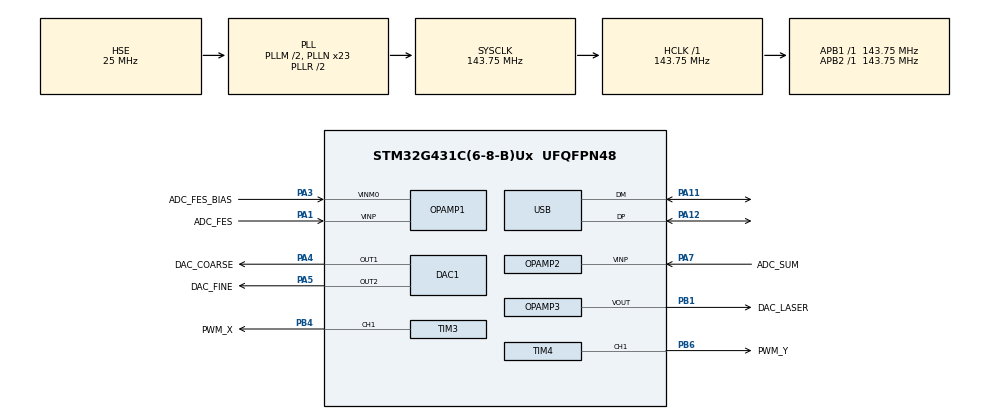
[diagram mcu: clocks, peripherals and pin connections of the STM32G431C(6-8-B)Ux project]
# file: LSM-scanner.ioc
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ADC1.Channel-0\#ChannelRegularConversion=ADC_CHANNEL_VOPAMP1
ADC1.NbrOfConversionFlag=1
ADC1.OffsetNumber-0\#ChannelRegularConversion=ADC_OFFSET_NONE
ADC1.OversamplingMode=ENABLE
ADC1.Rank-0\#ChannelRegularConversion=1
ADC1.Ratio=ADC_OVERSAMPLING_RATIO_16
ADC1.SamplingTime-0\#ChannelRegularConversion=ADC_SAMPLETIME_2CYCLES_5
ADC1.master=1
ADC2.Channel-0\#ChannelRegularConversion=ADC_CHANNEL_VOPAMP2
ADC2.NbrOfConversionFlag=1
ADC2.OffsetNumber-0\#ChannelRegularConversion=ADC_OFFSET_NONE
ADC2.OversamplingMode=ENABLE
ADC2.Rank-0\#ChannelRegularConversion=1
ADC2.Ratio=ADC_OVERSAMPLING_RATIO_16
ADC2.SamplingTime-0\#ChannelRegularConversion=ADC_SAMPLETIME_2CYCLES_5
DAC1.DAC_Channel-DAC_OUT2=DAC_CHANNEL_2
DAC3.DAC_Channel-DAC_OUT2_Int=DAC_CHANNEL_2
Mcu.Family=STM32G4
Mcu.Name=STM32G431C(6-8-B)Ux
Mcu.Package=UFQFPN48
NVIC.PriorityGroup=NVIC_PRIORITYGROUP_4
NVIC.USB_LP_IRQn=true\:0\:0\:false\:false\:true\:false\:true\:true
PA1.GPIO_Label=ADC_FES
PA1.Mode=PGA Internally connected_IO0_BIAS
PA1.Signal=OPAMP1_VINP
PA11.Mode=Device
PA11.Signal=USB_DM
PA12.Mode=Device
PA12.Signal=USB_DP
PA13.Mode=Serial_Wire
PA13.Signal=SYS_JTMS-SWDIO
PA14.Mode=Serial_Wire
PA14.Signal=SYS_JTCK-SWCLK
PA3.GPIO_Label=ADC_FES_BIAS
PA3.Mode=PGA Internally connected_IO0_BIAS
PA3.Signal=OPAMP1_VINM0
PA4.GPIO_Label=DAC_COARSE
PA4.Signal=COMP_DAC11_group
PA5.GPIO_Label=DAC_FINE
PA5.Signal=COMP_DAC12_group
PA7.GPIO_Label=ADC_SUM
PA7.Mode=PGA_Internally_Connected
PA7.Signal=OPAMP2_VINP
PB1.GPIO_Label=DAC_LASER
PB1.Mode=Follower-DAC_OUT2-INP
PB1.Signal=OPAMP3_VOUT
PB4.GPIO_Label=PWM_X
PB4.Signal=S_TIM3_CH1
PB6.GPIO_Label=PWM_Y
PB6.Signal=S_TIM4_CH1
PF0-OSC_IN.Mode=HSE-External-Oscillator
PF0-OSC_IN.Signal=RCC_OSC_IN
PF1-OSC_OUT.Mode=HSE-External-Oscillator
PF1-OSC_OUT.Signal=RCC_OSC_OUT
ProjectManager.HeapSize=0x200
ProjectManager.StackSize=0x400
ProjectManager.TargetToolchain=STM32CubeIDE
RCC.ADC12Freq_Value=143750000
RCC.AHBFreq_Value=143750000
RCC.APB1Freq_Value=143750000
RCC.APB1TimFreq_Value=143750000
RCC.APB2Freq_Value=143750000
RCC.APB2TimFreq_Value=143750000
RCC.CortexFreq_Value=143750000
RCC.EXTERNAL_CLOCK_VALUE=12288000
RCC.HCLKFreq_Value=143750000
RCC.HSE_VALUE=25000000
RCC.HSI48_VALUE=48000000
RCC.HSI_VALUE=16000000
RCC.LSE_VALUE=32768
RCC.PLLM=RCC_PLLM_DIV2
RCC.PLLN=23
RCC.PLLQ=RCC_PLLQ_DIV6
RCC.PLLSourceVirtual=RCC_PLLSOURCE_HSE
RCC.SYSCLKFreq_VALUE=143750000
RCC.SYSCLKSource=RCC_SYSCLKSOURCE_PLLCLK
RCC.USBFreq_Value=47916666.666666664
RCC.VCOOutputFreq_Value=287500000
SH.COMP_DAC11_group.0=DAC1_OUT1,DAC_OUT1
SH.COMP_DAC12_group.0=DAC1_OUT2,DAC_OUT2
SH.S_TIM3_CH1.0=TIM3_CH1,PWM Generation1 CH1
SH.S_TIM4_CH1.0=TIM4_CH1,PWM Generation1 CH1
TIM1.Prescaler=143.75-1
TIM3.Channel-PWM\ Generation1\ CH1=TIM_CHANNEL_1
TIM3.PeriodNoDither=4095
TIM4.Channel-PWM\ Generation1\ CH1=TIM_CHANNEL_1
TIM4.PeriodNoDither=4095
USB_DEVICE.CLASS_NAME_FS=CDC
USB_DEVICE.VirtualMode=Cdc
USB_DEVICE.VirtualModeFS=Cdc_FS
VP_ADC1_OPAMP_INTERNAL1.Mode=IN-OPAMP1
VP_ADC2_OPAMP_INTERNAL2.Mode=IN-OPAMP2
VP_DAC3_VS_DACI2.Mode=DAC_OUT2_Int
VP_SYS_V_VREFBUF.Mode=ExternalMode
VP_TIM1_VS_ClockSourceINT.Mode=Internal
VP_USB_DEVICE_VS_USB_DEVICE_CDC_FS.Mode=CDC_FS
board=custom

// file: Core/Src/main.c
/* USER CODE BEGIN Header */
/**
  ******************************************************************************
  * @file           : main.c
  * @brief          : Main program body
  ******************************************************************************
  * @attention
  *
  * Copyright (c) 2023 STMicroelectronics.
  * All rights reserved.
  *
  * This software is licensed under terms that can be found in the LICENSE file
  * in the root directory of this software component.
  * If no LICENSE file comes with this software, it is provided AS-IS.
  *
  ******************************************************************************
  */
/* USER CODE END Header */
#include "main.h"
#include "usb_device.h"

/* USER CODE BEGIN Includes */
#include <string.h>
#include <stdbool.h>
#include <math.h>
#include <ctype.h>
#include "usbd_cdc_if.h"
#include<stdio.h>
#include<stdlib.h>
/* USER CODE END Includes */

ADC_HandleTypeDef hadc1;
ADC_HandleTypeDef hadc2;

DAC_HandleTypeDef hdac1;
DAC_HandleTypeDef hdac3;

OPAMP_HandleTypeDef hopamp1;
OPAMP_HandleTypeDef hopamp2;
OPAMP_HandleTypeDef hopamp3;

TIM_HandleTypeDef htim1;
TIM_HandleTypeDef htim3;
TIM_HandleTypeDef htim4;

/* USER CODE BEGIN PV */
//1 -> int between 1 and 8191
uint16_t xRes = 200;
//2 -> int between 1 and 8191
uint16_t yRes = 200;
//3 -> int between 1 and 8191
uint16_t skipSteps = 1;

//4 -> int between 0 and 8191
uint16_t xOffset = 4095;
//5 -> int between 0 and 8191
uint16_t yOffset = 4095;
//8 -> int between 1 and 20
uint8_t adcAvg = 8;

//7 -> int between 0 and 2500
uint16_t laserPower = 2200;

//image data buffer -> set a little under the USB CDC 512 limit
static const uint16_t lenBuffer = 500;
static unsigned char imageData[500]; //apparently can't use lenBuffer

int pgaGain = OPAMP_PGA_GAIN_2_OR_MINUS_1;

int scanOffsetX = 0;
int scanOffsetY = 0;
/* USER CODE END PV */

void SystemClock_Config(void);
static void MX_GPIO_Init(void);
static void MX_DAC1_Init(void);
static void MX_DAC3_Init(void);
static void MX_OPAMP1_Init(void);
static void MX_OPAMP2_Init(void);
static void MX_OPAMP3_Init(void);
static void MX_TIM3_Init(void);
static void MX_TIM4_Init(void);
static void MX_TIM1_Init(void);
static void MX_ADC1_Init(void);
static void MX_ADC2_Init(void);

/* USER CODE BEGIN 0 */

//microsecond delay (not used)
void delay(uint32_t us) {
	//from AN4776 page 10, 1.3.1
	if (us > 65535) { //a check to see if the scans asks for bad delays
		printf("A delay of %d is too long!", us);
		us = 65535; //set to max
	}
	TIM1->ARR = us;
	TIM1->CNT = 0;
	TIM1->CR1 |= TIM_CR1_CEN; //enable timer
	while (TIM1->CNT < us)
		; //wait
	TIM1->CR1 &= ~TIM_CR1_CEN; //disable timer
}

//USB cdc transmit
//https://github.com/alexeykosinov/Redirect-printf-to-USB-VCP-on-STM32H7-MCU
int _write(int file, char *ptr, int len) {
	static uint8_t rc = USBD_OK;

	do {
		rc = CDC_Transmit_FS((unsigned char*) ptr, len);
	} while (USBD_BUSY == rc);

	if (USBD_FAIL == rc) {
		/// NOTE: Should never reach here.
		/// TODO: Handle this error.
		return 0;
	}
	return len;
}

//USB cdc receive
uint8_t buffer[64];
bool newReceived;

//ADC
uint32_t analogRead(uint8_t channel) {
	uint32_t ADCValue = 0;
	if (channel == 0) { //SUM
		HAL_ADC_Start(&hadc2);
		if (HAL_ADC_PollForConversion(&hadc2, 1000000) == HAL_OK) {
			ADCValue = 65520-HAL_ADC_GetValue(&hadc2); //4095*8
		}
		HAL_ADC_Stop(&hadc2);
	} else if (channel == 1) { //FES
		HAL_ADC_Start(&hadc1);
		if (HAL_ADC_PollForConversion(&hadc1, 1000000) == HAL_OK) {
			ADCValue = HAL_ADC_GetValue(&hadc1);
		}
		HAL_ADC_Stop(&hadc1);
	}
	return ADCValue/16; //divide by 8 for 8x oversampling
}

//parse usb serial input
uint16_t getNum() {
	uint16_t num = 0;
	for (int i = 1; i <= 4; i++) {
		if (isdigit(buffer[i])) { //only works if buffer isn't initialized with all zeros - shouldn't be
			num *= 10;
			num += buffer[i] - '0';
		}
	}
	return num;
}

//fine focus
void fineFocus() {
	int32_t currentAdc;
	int16_t topAdc = -10000;
	int16_t bottomAdc = 10000;
	int16_t topDac = 0;
	int16_t bottomDac = 0;
	int16_t middleDac;
	int8_t precision = 2; //normally 7 for 13-bit

	//set offsets
	htim3.Instance->CCR1 = xOffset;
	htim4.Instance->CCR1 = yOffset;

	//set laser power
	DAC3->DHR12R2 = laserPower;

	//reset fine focus
	DAC1->DHR12R2 = 0;

	//delay to settle
	HAL_Delay(100);

	for (int i = 0; i < 4096; i += precision) { //can do +=5?
		DAC1->DHR12R2 = i;
		//delay_us(1000);
		HAL_Delay(8);
		currentAdc = analogRead(1);
		if (currentAdc > topAdc) {
			topAdc = currentAdc;
			topDac = i;
			HAL_Delay(40);
		} else if (currentAdc < bottomAdc) {
			bottomAdc = currentAdc;
			bottomDac = i;
			HAL_Delay(40);
		}
		delay(6000);
		printf("%d,%d\r\n", i, currentAdc); //print to see curve
	}
	printf("Done\r\n");
	middleDac = ((topDac - bottomDac) / 2) + bottomDac;

	//temp offset
	middleDac += 40;

	for (int i = 0; i <= middleDac; i += precision) {
		DAC1->DHR12R2 = i;
		if (i <= 2) { //don't need large timer if not resetting axis
			HAL_Delay(200);
		} else {
			delay(2000);
		}
		currentAdc = analogRead(1);
		printf("%d,%d\r\n", i, currentAdc);
		delay(1000);
	}

	HAL_Delay(300);
	printf("Done\r\n");
}

//coarse focus
void coarseFocus() {
	uint32_t sum = 0;
	uint16_t minDac = 0;
	uint8_t precision = 1;
	uint16_t minSum = 10000;

	//set offsets
	htim3.Instance->CCR1 = xOffset;
	htim4.Instance->CCR1 = yOffset;

	//set fine focus to close-to-center to avoid center instability and coarse to start
	DAC1->DHR12R2 = 2300;

	//reset coarse focus
	DAC1->DHR12R1 = 0;

	//set laser power
	DAC3->DHR12R2 = laserPower;

	//delay to settle
	HAL_Delay(100);

	for (int i = 0; i < 4096; i += precision) {
		DAC1->DHR12R1 = i;
		delay(1000);
		sum = analogRead(0);
		if (sum < minSum) { //values get smaller as light increases (inverted)
			minSum = sum;
			minDac = i;
		}
		delay(1000);
		printf("%d,%d\r\n", i, sum); //print to see curve
	}
	printf("Done\r\n");

	// wind back to avoid dislodging sample
	for (int i = 4095; i >= 0; i -= precision) {
		DAC1->DHR12R1 = i;
		delay(200);
	}

	delay(2000);
	for (int i = 0; i <= minDac; i += precision) {
		DAC1->DHR12R1 = i;
		delay(1000);
		sum = analogRead(0);
		printf("%d,%d\r\n", i, sum);
		delay(1000);
	}

	HAL_Delay(300);
	printf("Done\r\n");
}

void fastScan() {

	int raw;

	DAC3->DHR12R2 = laserPower;

	//set offsets
	htim3.Instance->CCR1 = xOffset;
	htim4.Instance->CCR1 = yOffset;

	for (int y = 0; y < yRes; y++) {

		if (y == 0) {
			htim4.Instance->CCR1 = (scanOffsetY + (yRes*skipSteps)/2.55);
			delay(8197); //half of 61hz, resonance frequency of SF-HD65
		}

		htim4.Instance->CCR1 = (scanOffsetY + (y * skipSteps));

		for (int x = 0; x < xRes; x++) {
			raw = 0;

			//ringing compensation
			if (x == 0) {
				htim3.Instance->CCR1 = (scanOffsetX + (xRes*skipSteps)/2.35);
				delay(8197); //half of 61hz, resonance frequency of SF-HD65
			}

			htim3.Instance->CCR1 = (scanOffsetX + (x * skipSteps));

			raw = 8191 - analogRead(0);
			//delay(adcAvg*20);

			if (x + 1 == xRes) {
				printf("%d\r\n", raw);
			} else {
				printf("%d,", raw);
			}
		}

		//add delay later
	}
	printf("%d\r\n", 0);
}
/* USER CODE END 0 */

int main(void)
{

  /* MCU Configuration--------------------------------------------------------*/

  /* Reset of all peripherals, Initializes the Flash interface and the Systick. */
  HAL_Init();

  /* Configure the system clock */
  SystemClock_Config();

  /* Initialize all configured peripherals */
  MX_GPIO_Init();
  MX_DAC1_Init();
  MX_DAC3_Init();
  MX_OPAMP1_Init();
  MX_OPAMP2_Init();
  MX_OPAMP3_Init();
  MX_TIM3_Init();
  MX_TIM4_Init();
  MX_TIM1_Init();
  MX_ADC1_Init();
  MX_ADC2_Init();
  MX_USB_Device_Init();
  /* USER CODE BEGIN 2 */
  //DAC SETUP
  HAL_DAC_Start(&hdac1, DAC_CHANNEL_1);
  HAL_DAC_Start(&hdac1, DAC_CHANNEL_2);
  HAL_DAC_Start(&hdac3, DAC_CHANNEL_2);

  //ADC SETUP
  HAL_ADCEx_Calibration_Start(&hadc1, ADC_SINGLE_ENDED);
  HAL_ADCEx_Calibration_Start(&hadc2, ADC_SINGLE_ENDED);

  //OP-AMP SETUP
  HAL_OPAMP_Start(&hopamp1);
  HAL_OPAMP_Start(&hopamp2);
  HAL_OPAMP_Start(&hopamp3);

  //DELAY TIMER SETUP
  HAL_TIM_Base_Start(&htim1);

  //PWM SETUP
  HAL_TIM_Base_Start(&htim3);
  HAL_TIM_PWM_Init(&htim3);
  HAL_TIM_Base_Start(&htim4);
  HAL_TIM_PWM_Init(&htim4);

  HAL_TIM_PWM_Start(&htim3, TIM_CHANNEL_1); //x
  HAL_TIM_PWM_Start(&htim4, TIM_CHANNEL_1); //y
  /* USER CODE END 2 */

  /* Infinite loop */
  while (1)
  {

    /* USER CODE BEGIN 3 */
	DAC3->DHR12R2 = 0;

	uint8_t adcGain = 1; //not sure I need this

	//buffer[0]
	uint8_t start;

	//value of following data after buffer[0]
	uint16_t num = 0;

	if (newReceived) {
		if (buffer[0] == '0') {
			start = 0;
		} else {
			start = buffer[0] - '0';
		}
		num = getNum();
		switch (start) {
		case 0:
			scanOffsetX = xOffset - (xRes * skipSteps / 2); // set focus to center of scanned image (make sure > 0)
			scanOffsetY = yOffset - (yRes * skipSteps / 2);

			if ((scanOffsetX + (xRes * skipSteps)) < 4096 && (scanOffsetX + (xRes * skipSteps)) >= 0) {
				if ((scanOffsetY + (yRes * skipSteps)) < 4096 && (scanOffsetY + (yRes * skipSteps)) >= 0) {
					if (num == 1) {
						fastScan();
						HAL_Delay(1);
					}
				} else {
					printf("X offset, res or skipSteps too high!\r\n");
				}
			} else {
				printf("Y offset, res or skipSteps too high!\r\n");
			}
			break;
		case 1:
			if (num < 8192 && num > 0) {
				xRes = num;
			}
			break;
		case 2:
			if (num < 8192 && num > 0) {
				yRes = num;
			}
			break;
		case 3:
			if (num < 8192 && num > 0) {
				skipSteps = num;
			}
			break;
		case 4:
			if (num < 8192) {
				xOffset = num;
			}
			break;
		case 5:
			if (num < 8192) {
				yOffset = num;
			}
			break;
		case 6:
			if (num <= 5) {
				//NOTE: V2.1 only has PGA gain for FES, not SUM
				adcGain = num;
				HAL_OPAMP_Stop(&hopamp1);
				switch (adcGain) {
				case 0:
					hopamp1.Init.PgaGain = OPAMP_PGA_GAIN_2_OR_MINUS_1;
					break;
				case 1:
					hopamp1.Init.PgaGain = OPAMP_PGA_GAIN_4_OR_MINUS_3;
					break;
				case 2:
					hopamp1.Init.PgaGain = OPAMP_PGA_GAIN_8_OR_MINUS_7;
					break;
				case 3:
					hopamp1.Init.PgaGain = OPAMP_PGA_GAIN_16_OR_MINUS_15;
					break;
				case 4:
					hopamp1.Init.PgaGain = OPAMP_PGA_GAIN_32_OR_MINUS_31;
					break;
				case 5:
					hopamp1.Init.PgaGain = OPAMP_PGA_GAIN_64_OR_MINUS_63;
					break;
				}
				HAL_Delay(2);
				if (HAL_OPAMP_Init(&hopamp1) != HAL_OK)
				{
					Error_Handler();
				}
				HAL_Delay(2);
				HAL_OPAMP_Start(&hopamp1);
			}
			break;
		case 7:
			if (num <= 3000) {
				laserPower = num;
			}
			break;
		case 8:
			if (num <= 20 && num != 0) {
				adcAvg = num;
			}
			break;
		case 9:
			if (num == 1) {
				fineFocus();
			} else if (num == 2) {
				coarseFocus();
			} else {
				printf("Bad input\r\n");
			}
			break;
		}

		newReceived = false;
	}
	HAL_Delay(10); //10ms polling delay

  }
  /* USER CODE END 3 */
}

void SystemClock_Config(void)
{
  RCC_OscInitTypeDef RCC_OscInitStruct = {0};
  RCC_ClkInitTypeDef RCC_ClkInitStruct = {0};

  /** Configure the main internal regulator output voltage
  */
  HAL_PWREx_ControlVoltageScaling(PWR_REGULATOR_VOLTAGE_SCALE1);

  /** Initializes the RCC Oscillators according to the specified parameters
  * in the RCC_OscInitTypeDef structure.
  */
  RCC_OscInitStruct.OscillatorType = RCC_OSCILLATORTYPE_HSE;
  RCC_OscInitStruct.HSEState = RCC_HSE_ON;
  RCC_OscInitStruct.PLL.PLLState = RCC_PLL_ON;
  RCC_OscInitStruct.PLL.PLLSource = RCC_PLLSOURCE_HSE;
  RCC_OscInitStruct.PLL.PLLM = RCC_PLLM_DIV2;
  RCC_OscInitStruct.PLL.PLLN = 23;
  RCC_OscInitStruct.PLL.PLLP = RCC_PLLP_DIV2;
  RCC_OscInitStruct.PLL.PLLQ = RCC_PLLQ_DIV6;
  RCC_OscInitStruct.PLL.PLLR = RCC_PLLR_DIV2;
  if (HAL_RCC_OscConfig(&RCC_OscInitStruct) != HAL_OK)
  {
    Error_Handler();
  }

  /** Initializes the CPU, AHB and APB buses clocks
  */
  RCC_ClkInitStruct.ClockType = RCC_CLOCKTYPE_HCLK|RCC_CLOCKTYPE_SYSCLK
                              |RCC_CLOCKTYPE_PCLK1|RCC_CLOCKTYPE_PCLK2;
  RCC_ClkInitStruct.SYSCLKSource = RCC_SYSCLKSOURCE_PLLCLK;
  RCC_ClkInitStruct.AHBCLKDivider = RCC_SYSCLK_DIV1;
  RCC_ClkInitStruct.APB1CLKDivider = RCC_HCLK_DIV1;
  RCC_ClkInitStruct.APB2CLKDivider = RCC_HCLK_DIV1;

  if (HAL_RCC_ClockConfig(&RCC_ClkInitStruct, FLASH_LATENCY_4) != HAL_OK)
  {
    Error_Handler();
  }
}

static void MX_ADC1_Init(void)
{

  ADC_MultiModeTypeDef multimode = {0};
  ADC_ChannelConfTypeDef sConfig = {0};

  /** Common config
  */
  hadc1.Instance = ADC1;
  hadc1.Init.ClockPrescaler = ADC_CLOCK_SYNC_PCLK_DIV4;
  hadc1.Init.Resolution = ADC_RESOLUTION_12B;
  hadc1.Init.DataAlign = ADC_DATAALIGN_RIGHT;
  hadc1.Init.GainCompensation = 0;
  hadc1.Init.ScanConvMode = ADC_SCAN_DISABLE;
  hadc1.Init.EOCSelection = ADC_EOC_SINGLE_CONV;
  hadc1.Init.LowPowerAutoWait = DISABLE;
  hadc1.Init.ContinuousConvMode = DISABLE;
  hadc1.Init.NbrOfConversion = 1;
  hadc1.Init.DiscontinuousConvMode = DISABLE;
  hadc1.Init.ExternalTrigConv = ADC_SOFTWARE_START;
  hadc1.Init.ExternalTrigConvEdge = ADC_EXTERNALTRIGCONVEDGE_NONE;
  hadc1.Init.DMAContinuousRequests = DISABLE;
  hadc1.Init.Overrun = ADC_OVR_DATA_PRESERVED;
  hadc1.Init.OversamplingMode = ENABLE;
  hadc1.Init.Oversampling.Ratio = ADC_OVERSAMPLING_RATIO_16;
  hadc1.Init.Oversampling.RightBitShift = ADC_RIGHTBITSHIFT_NONE;
  hadc1.Init.Oversampling.TriggeredMode = ADC_TRIGGEREDMODE_SINGLE_TRIGGER;
  hadc1.Init.Oversampling.OversamplingStopReset = ADC_REGOVERSAMPLING_CONTINUED_MODE;
  if (HAL_ADC_Init(&hadc1) != HAL_OK)
  {
    Error_Handler();
  }

  /** Configure the ADC multi-mode
  */
  multimode.Mode = ADC_MODE_INDEPENDENT;
  if (HAL_ADCEx_MultiModeConfigChannel(&hadc1, &multimode) != HAL_OK)
  {
    Error_Handler();
  }

  /** Configure Regular Channel
  */
  sConfig.Channel = ADC_CHANNEL_VOPAMP1;
  sConfig.Rank = ADC_REGULAR_RANK_1;
  sConfig.SamplingTime = ADC_SAMPLETIME_2CYCLES_5;
  sConfig.SingleDiff = ADC_SINGLE_ENDED;
  sConfig.OffsetNumber = ADC_OFFSET_NONE;
  sConfig.Offset = 0;
  if (HAL_ADC_ConfigChannel(&hadc1, &sConfig) != HAL_OK)
  {
    Error_Handler();
  }

}

static void MX_ADC2_Init(void)
{

  ADC_ChannelConfTypeDef sConfig = {0};

  /** Common config
  */
  hadc2.Instance = ADC2;
  hadc2.Init.ClockPrescaler = ADC_CLOCK_SYNC_PCLK_DIV4;
  hadc2.Init.Resolution = ADC_RESOLUTION_12B;
  hadc2.Init.DataAlign = ADC_DATAALIGN_RIGHT;
  hadc2.Init.GainCompensation = 0;
  hadc2.Init.ScanConvMode = ADC_SCAN_DISABLE;
  hadc2.Init.EOCSelection = ADC_EOC_SINGLE_CONV;
  hadc2.Init.LowPowerAutoWait = DISABLE;
  hadc2.Init.ContinuousConvMode = DISABLE;
  hadc2.Init.NbrOfConversion = 1;
  hadc2.Init.DiscontinuousConvMode = DISABLE;
  hadc2.Init.ExternalTrigConv = ADC_SOFTWARE_START;
  hadc2.Init.ExternalTrigConvEdge = ADC_EXTERNALTRIGCONVEDGE_NONE;
  hadc2.Init.DMAContinuousRequests = DISABLE;
  hadc2.Init.Overrun = ADC_OVR_DATA_PRESERVED;
  hadc2.Init.OversamplingMode = ENABLE;
  hadc2.Init.Oversampling.Ratio = ADC_OVERSAMPLING_RATIO_16;
  hadc2.Init.Oversampling.RightBitShift = ADC_RIGHTBITSHIFT_NONE;
  hadc2.Init.Oversampling.TriggeredMode = ADC_TRIGGEREDMODE_SINGLE_TRIGGER;
  hadc2.Init.Oversampling.OversamplingStopReset = ADC_REGOVERSAMPLING_CONTINUED_MODE;
  if (HAL_ADC_Init(&hadc2) != HAL_OK)
  {
    Error_Handler();
  }

  /** Configure Regular Channel
  */
  sConfig.Channel = ADC_CHANNEL_VOPAMP2;
  sConfig.Rank = ADC_REGULAR_RANK_1;
  sConfig.SamplingTime = ADC_SAMPLETIME_2CYCLES_5;
  sConfig.SingleDiff = ADC_SINGLE_ENDED;
  sConfig.OffsetNumber = ADC_OFFSET_NONE;
  sConfig.Offset = 0;
  if (HAL_ADC_ConfigChannel(&hadc2, &sConfig) != HAL_OK)
  {
    Error_Handler();
  }

}

static void MX_DAC1_Init(void)
{

  DAC_ChannelConfTypeDef sConfig = {0};

  /** DAC Initialization
  */
  hdac1.Instance = DAC1;
  if (HAL_DAC_Init(&hdac1) != HAL_OK)
  {
    Error_Handler();
  }

  /** DAC channel OUT1 config
  */
  sConfig.DAC_HighFrequency = DAC_HIGH_FREQUENCY_INTERFACE_MODE_AUTOMATIC;
  sConfig.DAC_DMADoubleDataMode = DISABLE;
  sConfig.DAC_SignedFormat = DISABLE;
  sConfig.DAC_SampleAndHold = DAC_SAMPLEANDHOLD_DISABLE;
  sConfig.DAC_Trigger = DAC_TRIGGER_NONE;
  sConfig.DAC_Trigger2 = DAC_TRIGGER_NONE;
  sConfig.DAC_OutputBuffer = DAC_OUTPUTBUFFER_ENABLE;
  sConfig.DAC_ConnectOnChipPeripheral = DAC_CHIPCONNECT_EXTERNAL;
  sConfig.DAC_UserTrimming = DAC_TRIMMING_FACTORY;
  if (HAL_DAC_ConfigChannel(&hdac1, &sConfig, DAC_CHANNEL_1) != HAL_OK)
  {
    Error_Handler();
  }

  /** DAC channel OUT2 config
  */
  if (HAL_DAC_ConfigChannel(&hdac1, &sConfig, DAC_CHANNEL_2) != HAL_OK)
  {
    Error_Handler();
  }

}

static void MX_DAC3_Init(void)
{

  DAC_ChannelConfTypeDef sConfig = {0};

  /** DAC Initialization
  */
  hdac3.Instance = DAC3;
  if (HAL_DAC_Init(&hdac3) != HAL_OK)
  {
    Error_Handler();
  }

  /** DAC channel OUT2 config
  */
  sConfig.DAC_HighFrequency = DAC_HIGH_FREQUENCY_INTERFACE_MODE_AUTOMATIC;
  sConfig.DAC_DMADoubleDataMode = DISABLE;
  sConfig.DAC_SignedFormat = DISABLE;
  sConfig.DAC_SampleAndHold = DAC_SAMPLEANDHOLD_DISABLE;
  sConfig.DAC_Trigger = DAC_TRIGGER_NONE;
  sConfig.DAC_Trigger2 = DAC_TRIGGER_NONE;
  sConfig.DAC_OutputBuffer = DAC_OUTPUTBUFFER_DISABLE;
  sConfig.DAC_ConnectOnChipPeripheral = DAC_CHIPCONNECT_INTERNAL;
  sConfig.DAC_UserTrimming = DAC_TRIMMING_FACTORY;
  if (HAL_DAC_ConfigChannel(&hdac3, &sConfig, DAC_CHANNEL_2) != HAL_OK)
  {
    Error_Handler();
  }

}

static void MX_OPAMP1_Init(void)
{

  hopamp1.Instance = OPAMP1;
  hopamp1.Init.PowerMode = OPAMP_POWERMODE_NORMALSPEED;
  hopamp1.Init.Mode = OPAMP_PGA_MODE;
  hopamp1.Init.NonInvertingInput = OPAMP_NONINVERTINGINPUT_IO0;
  hopamp1.Init.InternalOutput = ENABLE;
  hopamp1.Init.TimerControlledMuxmode = OPAMP_TIMERCONTROLLEDMUXMODE_DISABLE;
  hopamp1.Init.PgaConnect = OPAMP_PGA_CONNECT_INVERTINGINPUT_IO0_BIAS;
  hopamp1.Init.PgaGain = OPAMP_PGA_GAIN_2_OR_MINUS_1;
  hopamp1.Init.UserTrimming = OPAMP_TRIMMING_FACTORY;
  if (HAL_OPAMP_Init(&hopamp1) != HAL_OK)
  {
    Error_Handler();
  }

}

static void MX_OPAMP2_Init(void)
{

  hopamp2.Instance = OPAMP2;
  hopamp2.Init.PowerMode = OPAMP_POWERMODE_NORMALSPEED;
  hopamp2.Init.Mode = OPAMP_PGA_MODE;
  hopamp2.Init.NonInvertingInput = OPAMP_NONINVERTINGINPUT_IO0;
  hopamp2.Init.InternalOutput = ENABLE;
  hopamp2.Init.TimerControlledMuxmode = OPAMP_TIMERCONTROLLEDMUXMODE_DISABLE;
  hopamp2.Init.PgaConnect = OPAMP_PGA_CONNECT_INVERTINGINPUT_NO;
  hopamp2.Init.PgaGain = OPAMP_PGA_GAIN_2_OR_MINUS_1;
  hopamp2.Init.UserTrimming = OPAMP_TRIMMING_FACTORY;
  if (HAL_OPAMP_Init(&hopamp2) != HAL_OK)
  {
    Error_Handler();
  }

}

static void MX_OPAMP3_Init(void)
{

  hopamp3.Instance = OPAMP3;
  hopamp3.Init.PowerMode = OPAMP_POWERMODE_NORMALSPEED;
  hopamp3.Init.Mode = OPAMP_FOLLOWER_MODE;
  hopamp3.Init.NonInvertingInput = OPAMP_NONINVERTINGINPUT_DAC;
  hopamp3.Init.InternalOutput = DISABLE;
  hopamp3.Init.TimerControlledMuxmode = OPAMP_TIMERCONTROLLEDMUXMODE_DISABLE;
  hopamp3.Init.UserTrimming = OPAMP_TRIMMING_FACTORY;
  if (HAL_OPAMP_Init(&hopamp3) != HAL_OK)
  {
    Error_Handler();
  }

}

static void MX_TIM1_Init(void)
{

  TIM_ClockConfigTypeDef sClockSourceConfig = {0};
  TIM_MasterConfigTypeDef sMasterConfig = {0};

  htim1.Instance = TIM1;
  htim1.Init.Prescaler = 143.75-1;
  htim1.Init.CounterMode = TIM_COUNTERMODE_UP;
  htim1.Init.Period = 65535;
  htim1.Init.ClockDivision = TIM_CLOCKDIVISION_DIV1;
  htim1.Init.RepetitionCounter = 0;
  htim1.Init.AutoReloadPreload = TIM_AUTORELOAD_PRELOAD_DISABLE;
  if (HAL_TIM_Base_Init(&htim1) != HAL_OK)
  {
    Error_Handler();
  }
  sClockSourceConfig.ClockSource = TIM_CLOCKSOURCE_INTERNAL;
  if (HAL_TIM_ConfigClockSource(&htim1, &sClockSourceConfig) != HAL_OK)
  {
    Error_Handler();
  }
  sMasterConfig.MasterOutputTrigger = TIM_TRGO_RESET;
  sMasterConfig.MasterOutputTrigger2 = TIM_TRGO2_RESET;
  sMasterConfig.MasterSlaveMode = TIM_MASTERSLAVEMODE_DISABLE;
  if (HAL_TIMEx_MasterConfigSynchronization(&htim1, &sMasterConfig) != HAL_OK)
  {
    Error_Handler();
  }

}

static void MX_TIM3_Init(void)
{

  TIM_MasterConfigTypeDef sMasterConfig = {0};
  TIM_OC_InitTypeDef sConfigOC = {0};

  htim3.Instance = TIM3;
  htim3.Init.Prescaler = 0;
  htim3.Init.CounterMode = TIM_COUNTERMODE_UP;
  htim3.Init.Period = 4095;
  htim3.Init.ClockDivision = TIM_CLOCKDIVISION_DIV1;
  htim3.Init.AutoReloadPreload = TIM_AUTORELOAD_PRELOAD_DISABLE;
  if (HAL_TIM_PWM_Init(&htim3) != HAL_OK)
  {
    Error_Handler();
  }
  sMasterConfig.MasterOutputTrigger = TIM_TRGO_RESET;
  sMasterConfig.MasterSlaveMode = TIM_MASTERSLAVEMODE_DISABLE;
  if (HAL_TIMEx_MasterConfigSynchronization(&htim3, &sMasterConfig) != HAL_OK)
  {
    Error_Handler();
  }
  sConfigOC.OCMode = TIM_OCMODE_PWM1;
  sConfigOC.Pulse = 0;
  sConfigOC.OCPolarity = TIM_OCPOLARITY_HIGH;
  sConfigOC.OCFastMode = TIM_OCFAST_DISABLE;
  if (HAL_TIM_PWM_ConfigChannel(&htim3, &sConfigOC, TIM_CHANNEL_1) != HAL_OK)
  {
    Error_Handler();
  }
  HAL_TIM_MspPostInit(&htim3);

}

static void MX_TIM4_Init(void)
{

  TIM_MasterConfigTypeDef sMasterConfig = {0};
  TIM_OC_InitTypeDef sConfigOC = {0};

  htim4.Instance = TIM4;
  htim4.Init.Prescaler = 0;
  htim4.Init.CounterMode = TIM_COUNTERMODE_UP;
  htim4.Init.Period = 4095;
  htim4.Init.ClockDivision = TIM_CLOCKDIVISION_DIV1;
  htim4.Init.AutoReloadPreload = TIM_AUTORELOAD_PRELOAD_DISABLE;
  if (HAL_TIM_PWM_Init(&htim4) != HAL_OK)
  {
    Error_Handler();
  }
  sMasterConfig.MasterOutputTrigger = TIM_TRGO_RESET;
  sMasterConfig.MasterSlaveMode = TIM_MASTERSLAVEMODE_DISABLE;
  if (HAL_TIMEx_MasterConfigSynchronization(&htim4, &sMasterConfig) != HAL_OK)
  {
    Error_Handler();
  }
  sConfigOC.OCMode = TIM_OCMODE_PWM1;
  sConfigOC.Pulse = 0;
  sConfigOC.OCPolarity = TIM_OCPOLARITY_HIGH;
  sConfigOC.OCFastMode = TIM_OCFAST_DISABLE;
  if (HAL_TIM_PWM_ConfigChannel(&htim4, &sConfigOC, TIM_CHANNEL_1) != HAL_OK)
  {
    Error_Handler();
  }
  HAL_TIM_MspPostInit(&htim4);

}

static void MX_GPIO_Init(void)
{

  /* GPIO Ports Clock Enable */
  __HAL_RCC_GPIOF_CLK_ENABLE();
  __HAL_RCC_GPIOA_CLK_ENABLE();
  __HAL_RCC_GPIOB_CLK_ENABLE();

}

void Error_Handler(void)
{
  __disable_irq();
  while (1)
  {
  }
}
